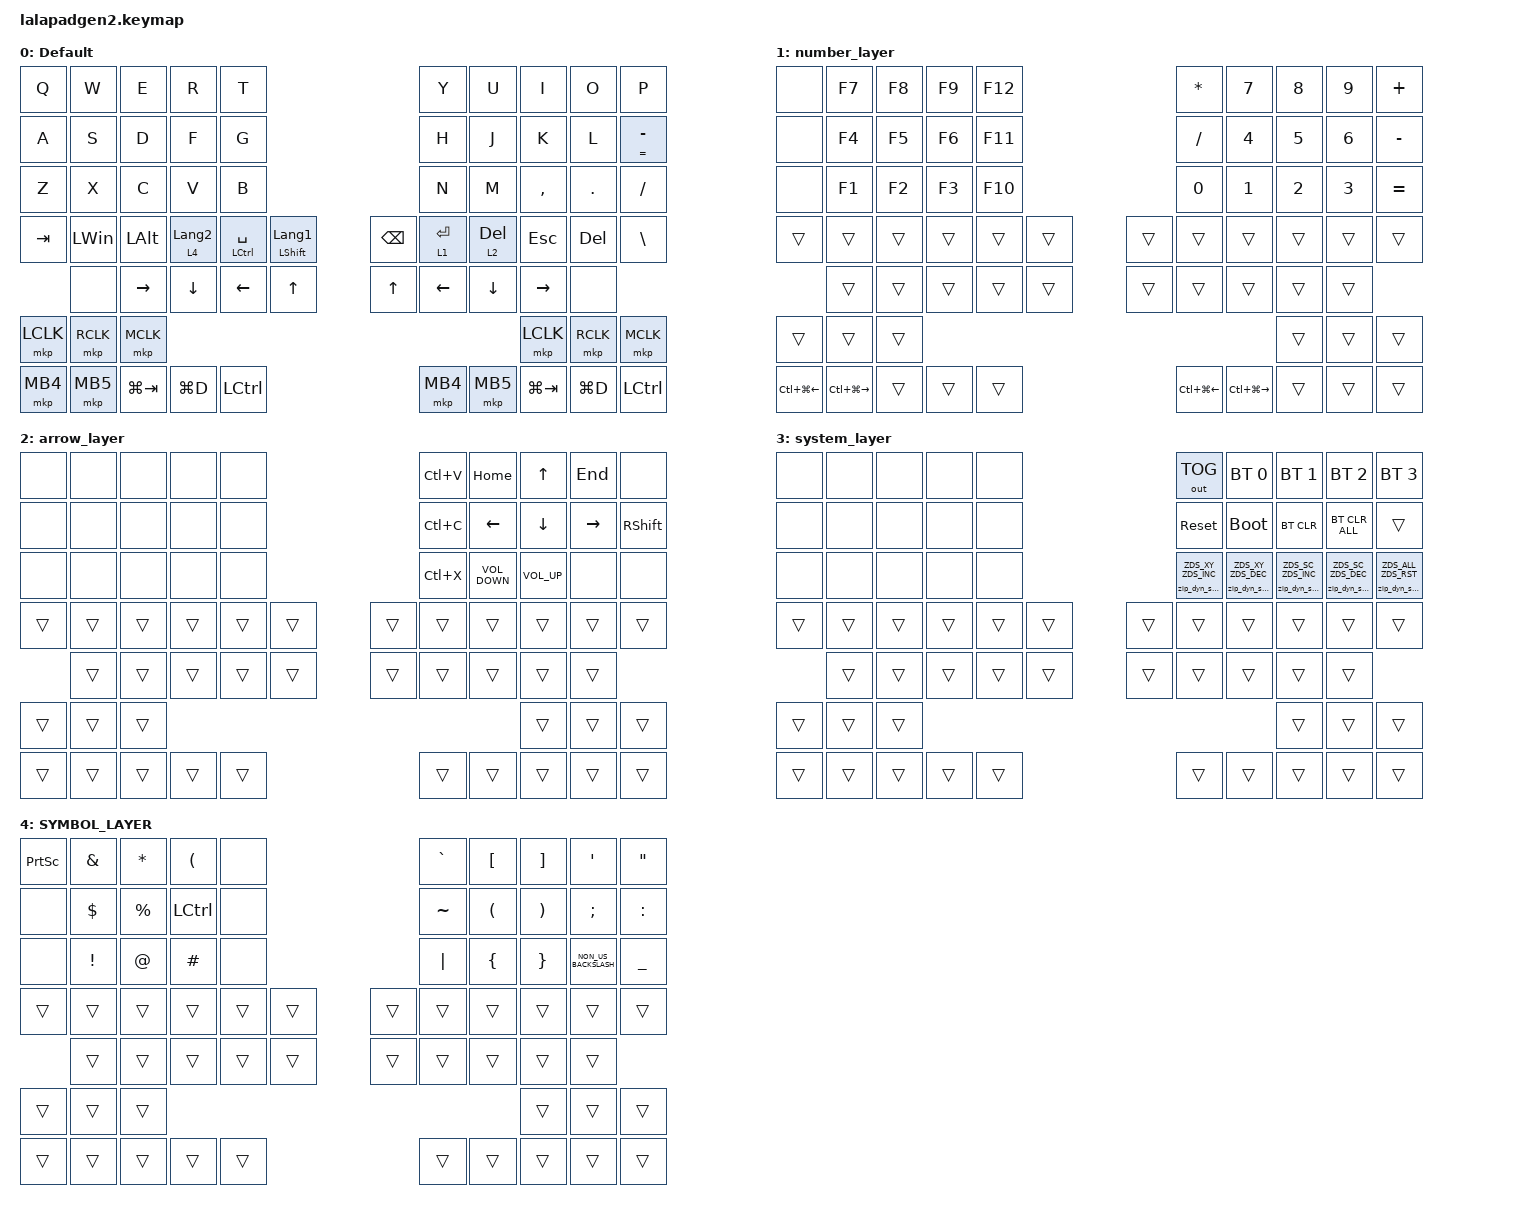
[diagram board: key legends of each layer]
#include <input/processors.dtsi>
#include <dt-bindings/zmk/zip_dynamic_scale.h>
#include <behaviors.dtsi>
#include <dt-bindings/zmk/bt.h>
#include <dt-bindings/zmk/keys.h>
#include <dt-bindings/zmk/outputs.h>
#include <dt-bindings/zmk/pointing.h>

#define DEFAULT_LAYER   0
#define NUMBER_LAYER    1
#define ARROW_LAYER     2
#define SYSTEM_LAYER    3
#define SYMBOL_LAYER    4

&mt { quick-tap-ms = <200>; };

&lt { quick-tap-ms = <200>; };

/ {
    behaviors {
        zip_dyn_scale: zip_dyn_scale {
            compatible = "zmk,behavior-zip-dynamic-scale";
            #binding-cells = <2>;
        };

        zip_dyn_scale_set: zip_dyn_scale_set {
            compatible = "zmk,behavior-zip-dynamic-scale-set";
            #binding-cells = <2>;
        };

        mt2: mod_tap2 {
            compatible = "zmk,behavior-hold-tap";
            #binding-cells = <2>;
            flavor = "tap-preferred";
            tapping-term-ms = <200>;
            quick-tap-ms = <200>;
            require-prior-idle-ms = <125>;
            bindings = <&kp>, <&kp>;
        };

        tap_dance_layer_1and2: tap_dance_layer_1and2 {
            compatible = "zmk,behavior-tap-dance";
            label = "td_mo12";
            #binding-cells = <0>;
            bindings = <&mo 1>, <&mo 2>;
        };
    };

    combos {
        compatible = "zmk,combos";

        tab {
            bindings = <&kp TAB>;
            key-positions = <11 12>;
        };
    };

    keymap {
        compatible = "zmk,keymap";

        DEFAULT_LAYER {
            display-name = "Default";
            bindings = <
&kp Q      &kp W         &kp E         &kp R             &kp T                                                             &kp Y        &kp U         &kp I        &kp O       &kp P
&kp A      &kp S         &kp D         &kp F             &kp G                                                             &kp H        &kp J         &kp K        &kp L       &mt2 EQUAL MINUS
&kp Z      &kp X         &kp C         &kp V             &kp B                                                             &kp N        &kp M         &kp COMMA    &kp PERIOD  &kp SLASH
&kp TAB    &kp LEFT_WIN  &kp LEFT_ALT  &lt 4 LANGUAGE_2  &mt LEFT_CONTROL SPACE  &mt LEFT_SHIFT LANGUAGE_1  &kp BACKSPACE  &lt 1 ENTER  &lt 2 DELETE  &kp ESCAPE   &kp DELETE  &kp BACKSLASH
           &none         &kp RIGHT     &kp DOWN          &kp LEFT                &kp UP                     &kp UP         &kp LEFT     &kp DOWN      &kp RIGHT    &none
&mkp LCLK  &mkp RCLK     &mkp MCLK                                                                                                                    &mkp LCLK    &mkp RCLK   &mkp MCLK
&mkp MB4   &mkp MB5      &kp LG(TAB)   &kp LG(D)         &kp LCTRL                                                         &mkp MB4     &mkp MB5      &kp LG(TAB)  &kp LG(D)   &kp LCTRL
            >;
        };

        NUMBER_LAYER {
            display-name = "number_layer";
            bindings = <
&none             &kp F7             &kp F8  &kp F9  &kp F12                  &kp ASTRK         &kp NUMBER_7       &kp NUMBER_8  &kp NUMBER_9  &kp PLUS
&none             &kp F4             &kp F5  &kp F6  &kp F11                  &kp SLASH         &kp NUMBER_4       &kp NUMBER_5  &kp NUMBER_6  &kp MINUS
&none             &kp F1             &kp F2  &kp F3  &kp F10                  &kp NUMBER_0      &kp NUMBER_1       &kp NUMBER_2  &kp NUMBER_3  &kp EQUAL
&trans            &trans             &trans  &trans  &trans   &trans  &trans  &trans            &trans             &trans        &trans        &trans
                  &trans             &trans  &trans  &trans   &trans  &trans  &trans            &trans             &trans        &trans
&trans            &trans             &trans                                                                        &trans        &trans        &trans
&kp LC(LG(LEFT))  &kp LC(LG(RIGHT))  &trans  &trans  &trans                   &kp LC(LG(LEFT))  &kp LC(LG(RIGHT))  &trans        &trans        &trans
            >;
        };

        ARROW_LAYER {
            display-name = "arrow_layer";
            bindings = <
&none   &none   &none   &none   &none                   &kp LC(V)  &kp HOME           &kp UP_ARROW     &kp END    &none
&none   &none   &none   &none   &none                   &kp LC(C)  &kp LEFT           &kp DOWN_ARROW   &kp RIGHT  &kp RIGHT_SHIFT
&none   &none   &none   &none   &none                   &kp LC(X)  &kp C_VOLUME_DOWN  &kp C_VOLUME_UP  &none      &none
&trans  &trans  &trans  &trans  &trans  &trans  &trans  &trans     &trans             &trans           &trans     &trans
        &trans  &trans  &trans  &trans  &trans  &trans  &trans     &trans             &trans           &trans
&trans  &trans  &trans                                                                &trans           &trans     &trans
&trans  &trans  &trans  &trans  &trans                  &trans     &trans             &trans           &trans     &trans
            >;
        };

        SYSTEM_LAYER {
            display-name = "system_layer";
            bindings = <
&none   &none   &none   &none   &none                   &out OUT_TOG                   &bt BT_SEL 0                   &bt BT_SEL 1                   &bt BT_SEL 2                   &bt BT_SEL 3
&none   &none   &none   &none   &none                   &sys_reset                     &bootloader                    &bt BT_CLR                     &bt BT_CLR_ALL                 &trans
&none   &none   &none   &none   &none                   &zip_dyn_scale ZDS_XY ZDS_INC  &zip_dyn_scale ZDS_XY ZDS_DEC  &zip_dyn_scale ZDS_SC ZDS_INC  &zip_dyn_scale ZDS_SC ZDS_DEC  &zip_dyn_scale ZDS_ALL ZDS_RST
&trans  &trans  &trans  &trans  &trans  &trans  &trans  &trans                         &trans                         &trans                         &trans                         &trans
        &trans  &trans  &trans  &trans  &trans  &trans  &trans                         &trans                         &trans                         &trans
&trans  &trans  &trans                                                                                                &trans                         &trans                         &trans
&trans  &trans  &trans  &trans  &trans                  &trans                         &trans                         &trans                         &trans                         &trans
            >;
        };

        SYMBOL_LAYER {
            bindings = <
&kp PRINTSCREEN  &kp AMPERSAND    &kp ASTERISK  &kp LEFT_PARENTHESIS  &none                   &kp GRAVE  &kp LEFT_BRACKET      &kp RIGHT_BRACKET      &kp SQT               &kp DOUBLE_QUOTES
&none            &kp DOLLAR       &kp PERCENT   &kp LCTRL             &none                   &kp TILDE  &kp LEFT_PARENTHESIS  &kp RIGHT_PARENTHESIS  &kp SEMICOLON         &kp COLON
&none            &kp EXCLAMATION  &kp AT_SIGN   &kp HASH              &none                   &kp PIPE   &kp LEFT_BRACE        &kp RIGHT_BRACE        &kp NON_US_BACKSLASH  &kp UNDERSCORE
&trans           &trans           &trans        &trans                &trans  &trans  &trans  &trans     &trans                &trans                 &trans                &trans
                 &trans           &trans        &trans                &trans  &trans  &trans  &trans     &trans                &trans                 &trans
&trans           &trans           &trans                                                                                       &trans                 &trans                &trans
&trans           &trans           &trans        &trans                &trans                  &trans     &trans                &trans                 &trans                &trans
            >;
        };
    };

    conditional_layers {
        compatible = "zmk,conditional-layers";

        Cond_Syslayer {
            if-layers = <1 2>;
            then-layer = <3>;
        };
    };
};
